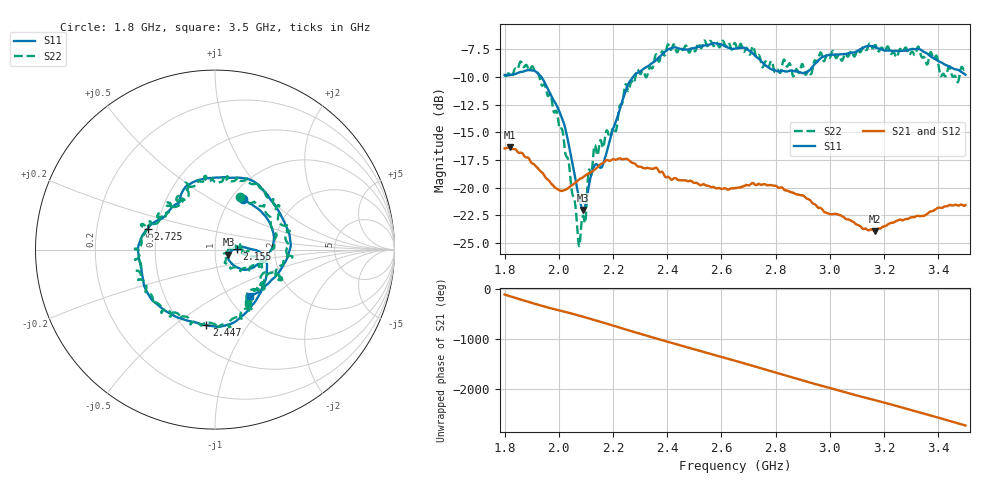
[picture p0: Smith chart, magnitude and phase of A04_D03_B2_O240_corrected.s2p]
! Created with skrf 1.9.0 (http://scikit-rf.org).
# Hz S RI R 50.0
!freq ReS11 ImS11 ReS21 ImS21 ReS12 ImS12 ReS22 ImS22
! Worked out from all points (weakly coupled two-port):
!   1601 points, 1.8 GHz to 3.5 GHz, reference 50 ohm
!   highest |S21| = -16.36 dB at 1.819 GHz (marker M1); lowest = -23.9 dB at 3.165 GHz (marker M2)
!   lowest |S11| = -22.0 dB at 2.09 GHz (marker M3), VSWR 1.17, Z = 58 - j3.19 ohm
!   |S11| at or under -10 dB: 1.935 GHz to 2.274 GHz (338.4 MHz wide, 16.1 % of centre)
!   |S22| runs from -25.3 to -6.7 dB; largest |S21 - S12| = 0.0027
!   S11 on the Smith chart (normalised r, x): 1.8 GHz: 1.13, +0.71; 2.155 GHz: 1.28, +0.01; 2.447 GHz: 0.64, -0.66; 2.725 GHz: 0.44, +0.12; 3.5 GHz: 1.26, -0.72
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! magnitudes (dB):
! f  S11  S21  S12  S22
! 1.8 GHz  -9.8  -16.5  -16.5  -9.8
! 1.819 GHz  -9.8  -16.4  -16.4  -9.8
! 1.903 GHz  -9.4  -17.8  -17.8  -9.1
! 1.968 GHz  -11.5  -19.5  -19.5  -11.5
! 2.015 GHz  -13.9  -20.3  -20.3  -15.0
! 2.072 GHz  -20.6  -19.3  -19.4  -24.9
! 2.084 GHz  -21.7  -19.1  -19.1  -23.2
! 2.09 GHz  -22.0  -19.0  -19.1  -22.5
! 2.13 GHz  -18.1  -18.4  -18.4  -16.3
! 2.155 GHz  -18.2  -17.9  -17.9  -15.7
! 2.209 GHz  -14.1  -17.5  -17.4  -14.9
! 2.258 GHz  -10.6  -17.5  -17.5  -11.2
! 2.367 GHz  -8.3  -18.4  -18.4  -8.6
! 2.447 GHz  -7.5  -19.3  -19.3  -7.3
! 2.65 GHz  -7.5  -20.0  -20.0  -6.9
! 2.725 GHz  -8.1  -19.8  -19.7  -8.0
! 2.934 GHz  -9.1  -21.3  -21.3  -9.6
! 3.165 GHz  -7.3  -23.9  -23.9  -7.1
! 3.217 GHz  -7.6  -23.3  -23.2  -7.4
! 3.376 GHz  -8.2  -22.1  -22.1  -7.9
! 3.468 GHz  -9.3  -21.6  -21.5  -10.3
! 3.5 GHz  -9.8  -21.6  -21.6  -9.1
